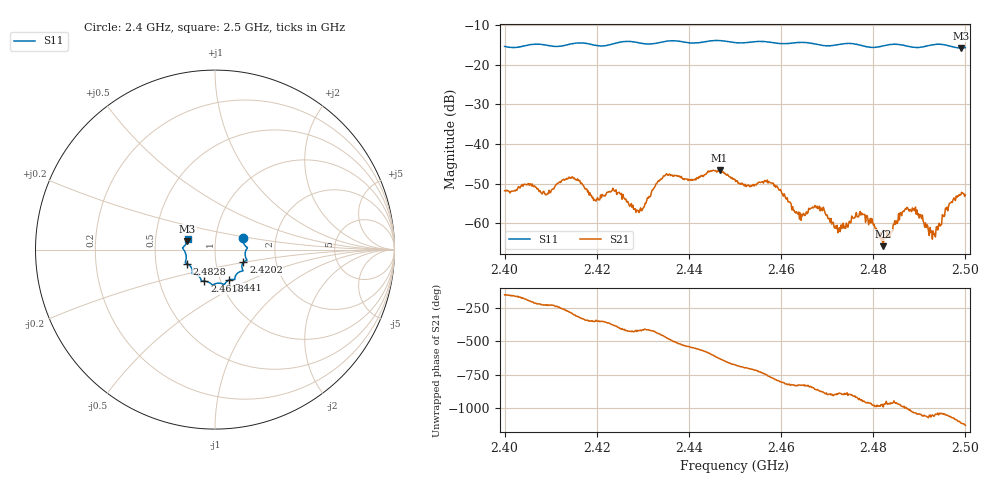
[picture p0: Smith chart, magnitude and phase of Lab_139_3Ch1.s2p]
# Hz S RI R 50
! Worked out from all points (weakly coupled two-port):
!   601 points, 2.4 GHz to 2.5 GHz, reference 50 ohm
!   highest |S21| = -46.55 dB at 2.4467 GHz (marker M1); lowest = -65.8 dB at 2.4822 GHz (marker M2)
!   lowest |S11| = -15.8 dB at 2.499 GHz (marker M3), VSWR 1.39, Z = 36.5 + j3.48 ohm
!   |S11| at or under -10 dB: start of sweep to end of sweep
!   S12 and S22 are empty: the file has one direction only
!   S11 on the Smith chart (normalised r, x): 2.4 GHz: 1.36, +0.18; 2.4202 GHz: 1.36, -0.20; 2.441 GHz: 1.10, -0.39; 2.4618 GHz: 0.84, -0.30; 2.4828 GHz: 0.72, -0.12; 2.5 GHz: 0.73, +0.09
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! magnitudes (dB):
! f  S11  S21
! 2.4 GHz  -15.4  -51.8
! 2.4167 GHz  -14.5  -49.9
! 2.4202 GHz  -15.2  -53.6
! 2.4237 GHz  -14.7  -51.6
! 2.4293 GHz  -14.5  -56.8
! 2.4333 GHz  -14.5  -49.3
! 2.441 GHz  -14.6  -49.1
! 2.4467 GHz  -13.9  -46.5
! 2.45 GHz  -14.5  -48.9
! 2.4578 GHz  -14.4  -49.8
! 2.4618 GHz  -14.6  -54.6
! 2.4642 GHz  -14.4  -57.4
! 2.4667 GHz  -14.6  -56.1
! 2.4723 GHz  -15.0  -62.4
! 2.4777 GHz  -15.2  -57.8
! 2.4822 GHz  -15.3  -65.8
! 2.4828 GHz  -15.1  -63.7
! 2.4833 GHz  -15.0  -62.9
! 2.4875 GHz  -15.4  -56.2
! 2.493 GHz  -15.0  -61.9
! 2.499 GHz  -15.8  -52.8
! 2.5 GHz  -15.7  -52.9
